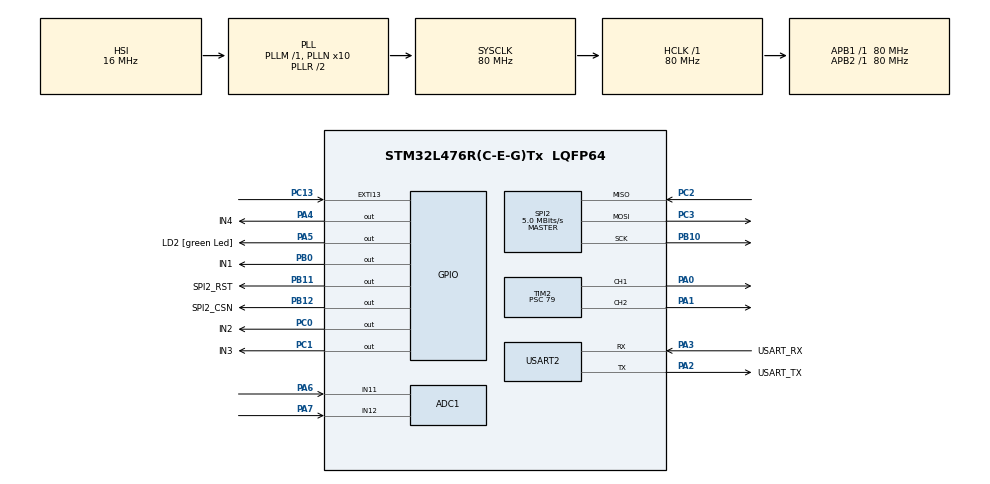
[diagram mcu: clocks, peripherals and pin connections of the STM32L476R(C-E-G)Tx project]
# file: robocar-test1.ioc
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ADC1.Channel-0\#ChannelRegularConversion=ADC_CHANNEL_11
ADC1.Channel-2\#ChannelRegularConversion=ADC_CHANNEL_12
ADC1.ContinuousConvMode=DISABLE
ADC1.DMAContinuousRequests=ENABLE
ADC1.EOCSelection=ADC_EOC_SEQ_CONV
ADC1.ExternalTrigConv=ADC_EXTERNALTRIG_T6_TRGO
ADC1.NbrOfConversion=2
ADC1.NbrOfConversionFlag=1
ADC1.OffsetNumber-0\#ChannelRegularConversion=ADC_OFFSET_NONE
ADC1.OffsetNumber-2\#ChannelRegularConversion=ADC_OFFSET_NONE
ADC1.Overrun=ADC_OVR_DATA_OVERWRITTEN
ADC1.Rank-0\#ChannelRegularConversion=1
ADC1.Rank-2\#ChannelRegularConversion=2
ADC1.SamplingTime-0\#ChannelRegularConversion=ADC_SAMPLETIME_47CYCLES_5
ADC1.SamplingTime-2\#ChannelRegularConversion=ADC_SAMPLETIME_47CYCLES_5
ADC1.master=1
Dma.ADC1.0.Direction=DMA_PERIPH_TO_MEMORY
Dma.ADC1.0.Instance=DMA1_Channel1
Dma.ADC1.0.MemDataAlignment=DMA_MDATAALIGN_HALFWORD
Dma.ADC1.0.MemInc=DMA_MINC_ENABLE
Dma.ADC1.0.Mode=DMA_CIRCULAR
Dma.ADC1.0.PeriphDataAlignment=DMA_PDATAALIGN_HALFWORD
Dma.ADC1.0.PeriphInc=DMA_PINC_DISABLE
Dma.ADC1.0.Priority=DMA_PRIORITY_LOW
Dma.Request0=ADC1
Mcu.Family=STM32L4
Mcu.Name=STM32L476R(C-E-G)Tx
Mcu.Package=LQFP64
NUCLEO-L476RG.BUTTON=1
NVIC.DMA1_Channel1_IRQn=true\:5\:0\:true\:false\:true\:false\:true\:true
NVIC.EXTI15_10_IRQn=true\:0\:0\:false\:false\:true\:false\:true\:true
NVIC.PriorityGroup=NVIC_PRIORITYGROUP_4
PA0.Signal=S_TIM2_CH1
PA1.Signal=S_TIM2_CH2
PA13\ (JTMS-SWDIO).GPIO_Label=TMS
PA13\ (JTMS-SWDIO).Signal=SYS_JTMS-SWDIO
PA14\ (JTCK-SWCLK).GPIO_Label=TCK
PA14\ (JTCK-SWCLK).Signal=SYS_JTCK-SWCLK
PA2.GPIO_Label=USART_TX
PA2.GPIO_Mode=GPIO_MODE_AF_PP
PA2.GPIO_PuPd=GPIO_NOPULL
PA2.GPIO_Speed=GPIO_SPEED_FREQ_VERY_HIGH
PA2.Mode=Asynchronous
PA2.Signal=USART2_TX
PA3.GPIO_Label=USART_RX
PA3.GPIO_Mode=GPIO_MODE_AF_PP
PA3.GPIO_PuPd=GPIO_NOPULL
PA3.GPIO_Speed=GPIO_SPEED_FREQ_VERY_HIGH
PA3.Mode=Asynchronous
PA3.Signal=USART2_RX
PA4.GPIO_Label=IN4
PA4.Signal=GPIO_Output
PA5.GPIO_Label=LD2 [green Led]
PA5.GPIO_ModeDefaultOutputPP=GPIO_MODE_OUTPUT_PP
PA5.GPIO_PuPd=GPIO_NOPULL
PA5.GPIO_Speed=GPIO_SPEED_FREQ_LOW
PA5.Signal=GPIO_Output
PA6.Signal=ADCx_IN11
PA7.Signal=ADCx_IN12
PB0.GPIO_Label=IN1
PB0.Signal=GPIO_Output
PB10.Mode=Full_Duplex_Master
PB10.Signal=SPI2_SCK
PB11.GPIO_Label=SPI2_RST
PB11.PinState=GPIO_PIN_SET
PB11.Signal=GPIO_Output
PB12.GPIO_Label=SPI2_CSN
PB12.PinState=GPIO_PIN_SET
PB12.Signal=GPIO_Output
PB3\ (JTDO-TRACESWO).GPIO_Label=SWO
PB3\ (JTDO-TRACESWO).Signal=SYS_JTDO-SWO
PC0.GPIO_Label=IN2
PC0.Signal=GPIO_Output
PC1.GPIO_Label=IN3
PC1.Signal=GPIO_Output
PC13.Signal=GPXTI13
PC14-OSC32_IN\ (PC14).Signal=RCC_OSC32_IN
PC15-OSC32_OUT\ (PC15).Signal=RCC_OSC32_OUT
PC2.Mode=Full_Duplex_Master
PC2.Signal=SPI2_MISO
PC3.Mode=Full_Duplex_Master
PC3.Signal=SPI2_MOSI
PH0-OSC_IN\ (PH0).Signal=RCC_OSC_IN
PH1-OSC_OUT\ (PH1).Signal=RCC_OSC_OUT
ProjectManager.HeapSize=0x200
ProjectManager.StackSize=0x400
ProjectManager.TargetToolchain=STM32CubeIDE
RCC.ADCFreq_Value=64000000
RCC.AHBFreq_Value=80000000
RCC.APB1Freq_Value=80000000
RCC.APB1TimFreq_Value=80000000
RCC.APB2Freq_Value=80000000
RCC.APB2TimFreq_Value=80000000
RCC.CortexFreq_Value=80000000
RCC.HCLKFreq_Value=80000000
RCC.HSE_VALUE=8000000
RCC.HSI_VALUE=16000000
RCC.LSE_VALUE=32768
RCC.MSI_VALUE=4000000
RCC.PLLN=10
RCC.PLLSourceVirtual=RCC_PLLSOURCE_HSI
RCC.PREFETCH_ENABLE=1
RCC.SYSCLKFreq_VALUE=80000000
RCC.SYSCLKSource=RCC_SYSCLKSOURCE_PLLCLK
RCC.USBFreq_Value=64000000
RCC.VCOOutputFreq_Value=160000000
SH.ADCx_IN11.0=ADC1_IN11,IN11-Single-Ended
SH.ADCx_IN12.0=ADC1_IN12,IN12-Single-Ended
SH.S_TIM2_CH1.0=TIM2_CH1,PWM Generation1 CH1
SH.S_TIM2_CH2.0=TIM2_CH2,PWM Generation2 CH2
SPI2.BaudRatePrescaler=SPI_BAUDRATEPRESCALER_16
SPI2.CalculateBaudRate=5.0 MBits/s
SPI2.DataSize=SPI_DATASIZE_8BIT
SPI2.Direction=SPI_DIRECTION_2LINES
SPI2.Mode=SPI_MODE_MASTER
SPI2.NSSPMode=SPI_NSS_PULSE_DISABLE
SPI2.VirtualType=VM_MASTER
TIM2.Channel-PWM\ Generation1\ CH1=TIM_CHANNEL_1
TIM2.Channel-PWM\ Generation2\ CH2=TIM_CHANNEL_2
TIM2.Period=999
TIM2.Prescaler=79
TIM6.Period=99
TIM6.Prescaler=7999
TIM6.TIM_MasterOutputTrigger=TIM_TRGO_UPDATE
USART2.VirtualMode-Asynchronous=VM_ASYNC
VP_NUCLEO-L476RG_VS_BSP_COMMON.Mode=COMMON
VP_TIM6_VS_ClockSourceINT.Mode=Enable_Timer
board=NUCLEO-L476RG

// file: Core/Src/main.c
/* USER CODE BEGIN Header */
/**
  ******************************************************************************
  * @file           : main.c
  * @brief          : Main program body
  ******************************************************************************
  * @attention
  *
  * Copyright (c) 2026 STMicroelectronics.
  * All rights reserved.
  *
  * This software is licensed under terms that can be found in the LICENSE file
  * in the root directory of this software component.
  * If no LICENSE file comes with this software, it is provided AS-IS.
  *
  ******************************************************************************
  */
/* USER CODE END Header */
#include "main.h"
#include "adc.h"
#include "dma.h"
#include "spi.h"
#include "tim.h"
#include "usart.h"
#include "gpio.h"

/* USER CODE BEGIN Includes */
#include "motor.h"
#include "rc_lora.h"
#include "joystick.h"
#include <stdio.h>
/* USER CODE END Includes */

void SystemClock_Config(void);

/* USER CODE BEGIN 0 */
extern int __io_putchar(int ch)
{
    uint8_t c = (uint8_t)ch;

    HAL_UART_Transmit(
        &huart2,
        &c,
        1,
        HAL_MAX_DELAY
    );

    return ch;
}
/* USER CODE END 0 */

int main(void)
{

  /* MCU Configuration--------------------------------------------------------*/

  /* Reset of all peripherals, Initializes the Flash interface and the Systick. */
  HAL_Init();

  /* Configure the system clock */
  SystemClock_Config();

  /* Initialize all configured peripherals */
  MX_GPIO_Init();
  MX_DMA_Init();
  MX_TIM2_Init();
  MX_USART2_UART_Init();
  MX_SPI2_Init();
  MX_ADC1_Init();
  MX_TIM6_Init();
  /* USER CODE BEGIN 2 */
#if RC_CONTROLLER
  if (Joystick_Init() != HAL_OK)
  {
      Error_Handler();
  }

  printf("Joystick initialized\r\n");

  if (HAL_TIM_Base_Start(&htim6) != HAL_OK)
  {
      printf("TIM6 start failed\r\n");
      Error_Handler();
  }

  printf("TIM6 started\r\n");
#else
  Motor_Init();
  printf("Motor initialized\r\n");
#endif

  RC_LoRa_Init();

  /* USER CODE END 2 */

  /* Initialize USER push-button, will be used to trigger an interrupt each time it's pressed.*/
  BSP_PB_Init(BUTTON_USER, BUTTON_MODE_EXTI);

  /* Infinite loop */
  /* USER CODE BEGIN WHILE */
#if RC_CONTROLLER
  Joystick_Data_t joystick;
#endif

  while (1)
  {
#if RC_CONTROLLER
	  if (Joystick_Read(&joystick) == HAL_OK)
	  {
		  RC_SetCommand(
				  joystick.throttle,
				  joystick.steering);
	  }
	  else
	  {
		  RC_SetCommand(0, 0);
	  }
#endif
	  RC_LoRa_Process();

    /* USER CODE END WHILE */

  }
}

void SystemClock_Config(void)
{
  RCC_OscInitTypeDef RCC_OscInitStruct = {0};
  RCC_ClkInitTypeDef RCC_ClkInitStruct = {0};

  /** Configure the main internal regulator output voltage
  */
  if (HAL_PWREx_ControlVoltageScaling(PWR_REGULATOR_VOLTAGE_SCALE1) != HAL_OK)
  {
    Error_Handler();
  }

  /** Initializes the RCC Oscillators according to the specified parameters
  * in the RCC_OscInitTypeDef structure.
  */
  RCC_OscInitStruct.OscillatorType = RCC_OSCILLATORTYPE_HSI;
  RCC_OscInitStruct.HSIState = RCC_HSI_ON;
  RCC_OscInitStruct.HSICalibrationValue = RCC_HSICALIBRATION_DEFAULT;
  RCC_OscInitStruct.PLL.PLLState = RCC_PLL_ON;
  RCC_OscInitStruct.PLL.PLLSource = RCC_PLLSOURCE_HSI;
  RCC_OscInitStruct.PLL.PLLM = 1;
  RCC_OscInitStruct.PLL.PLLN = 10;
  RCC_OscInitStruct.PLL.PLLP = RCC_PLLP_DIV7;
  RCC_OscInitStruct.PLL.PLLQ = RCC_PLLQ_DIV2;
  RCC_OscInitStruct.PLL.PLLR = RCC_PLLR_DIV2;
  if (HAL_RCC_OscConfig(&RCC_OscInitStruct) != HAL_OK)
  {
    Error_Handler();
  }

  /** Initializes the CPU, AHB and APB buses clocks
  */
  RCC_ClkInitStruct.ClockType = RCC_CLOCKTYPE_HCLK|RCC_CLOCKTYPE_SYSCLK
                              |RCC_CLOCKTYPE_PCLK1|RCC_CLOCKTYPE_PCLK2;
  RCC_ClkInitStruct.SYSCLKSource = RCC_SYSCLKSOURCE_PLLCLK;
  RCC_ClkInitStruct.AHBCLKDivider = RCC_SYSCLK_DIV1;
  RCC_ClkInitStruct.APB1CLKDivider = RCC_HCLK_DIV1;
  RCC_ClkInitStruct.APB2CLKDivider = RCC_HCLK_DIV1;

  if (HAL_RCC_ClockConfig(&RCC_ClkInitStruct, FLASH_LATENCY_4) != HAL_OK)
  {
    Error_Handler();
  }
}

void Error_Handler(void)
{
  __disable_irq();
  while (1)
  {
  }
}
